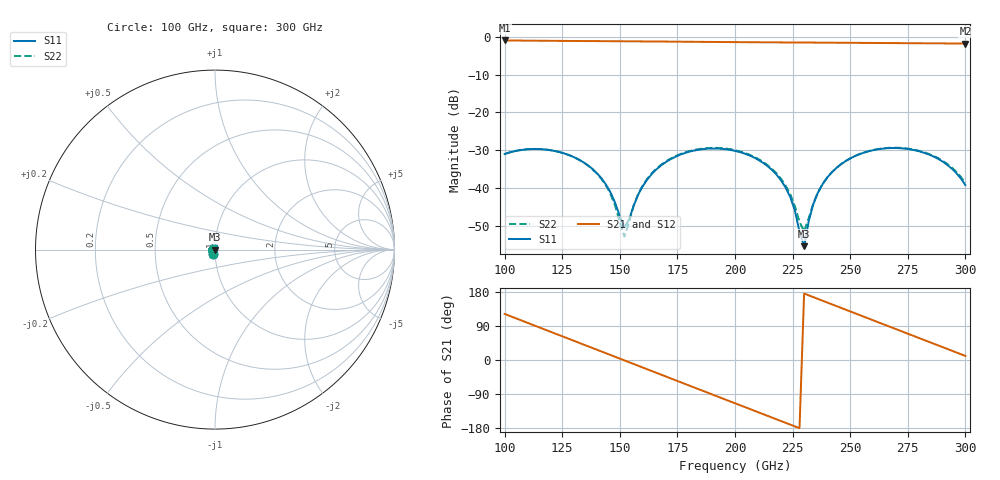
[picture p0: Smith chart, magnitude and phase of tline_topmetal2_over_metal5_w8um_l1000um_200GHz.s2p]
#  GHZ S DB R 50
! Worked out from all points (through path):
!   101 points, 100 GHz to 300 GHz, reference 50 ohm
!   highest |S21| = -0.93 dB at 100 GHz (marker M1); lowest = -1.7 dB at 300 GHz (marker M2)
!   group delay of S21, straight-line fit = 6.54 ps
!   lowest |S11| = -55.4 dB at 230 GHz (marker M3), VSWR 1.00, Z = 49.9 - j0.101 ohm
!   |S11| at or under -10 dB: start of sweep to end of sweep
!   |S22| runs from -52.9 to -29.3 dB; largest |S21 - S12| = 1.5e-13
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100  -31.02 -110.8  -0.93 121.6  -0.93 121.6  -30.97 -110.4
116  -29.72 -150.0  -1.01 83.8  -1.01 83.8  -29.70 -149.8
134  -33.09 169.1  -1.09 41.4  -1.09 41.4  -33.14 168.5
144  -39.07 152.8  -1.13 17.8  -1.13 17.8  -39.34 150.7
148  -43.93 155.7  -1.14 8.4  -1.14 8.4  -44.68 151.8
152  -50.41 -158.2  -1.16 -1.1  -1.16 -1.1  -52.85 -151.4
158  -41.73 -98.1  -1.18 -15.2  -1.18 -15.2  -41.59 -91.1
168  -33.99 -109.3  -1.22 -38.8  -1.22 -38.8  -33.81 -105.7
184  -29.88 -144.1  -1.30 -76.5  -1.30 -76.5  -29.72 -141.3
200  -30.15 179.0  -1.38 -114.2  -1.38 -114.2  -29.98 -177.9
212  -33.25 152.2  -1.42 -142.4  -1.42 -142.4  -33.01 156.2
220  -37.98 136.6  -1.45 -161.2  -1.45 -161.2  -37.58 142.4
224  -42.42 132.3  -1.46 -170.6  -1.46 -170.6  -41.71 140.4
230  -55.39 -143.4  -1.48 175.3  -1.48 175.3  -51.51 -155.8
234  -44.24 -98.0  -1.50 165.9  -1.50 165.9  -44.05 -106.2
238  -38.99 -100.3  -1.51 156.5  -1.51 156.5  -38.97 -104.0
246  -33.72 -114.9  -1.54 137.6  -1.54 137.6  -33.69 -116.0
258  -30.27 -140.9  -1.59 109.4  -1.59 109.4  -30.21 -140.6
268  -29.41 -163.1  -1.63 85.9  -1.63 85.9  -29.33 -162.3
286  -31.62 157.5  -1.70 43.6  -1.70 43.6  -31.45 159.3
294  -34.81 141.6  -1.73 24.8  -1.73 24.8  -34.53 144.3
300  -39.23 133.0  -1.75 10.7  -1.75 10.7  -38.70 137.1
